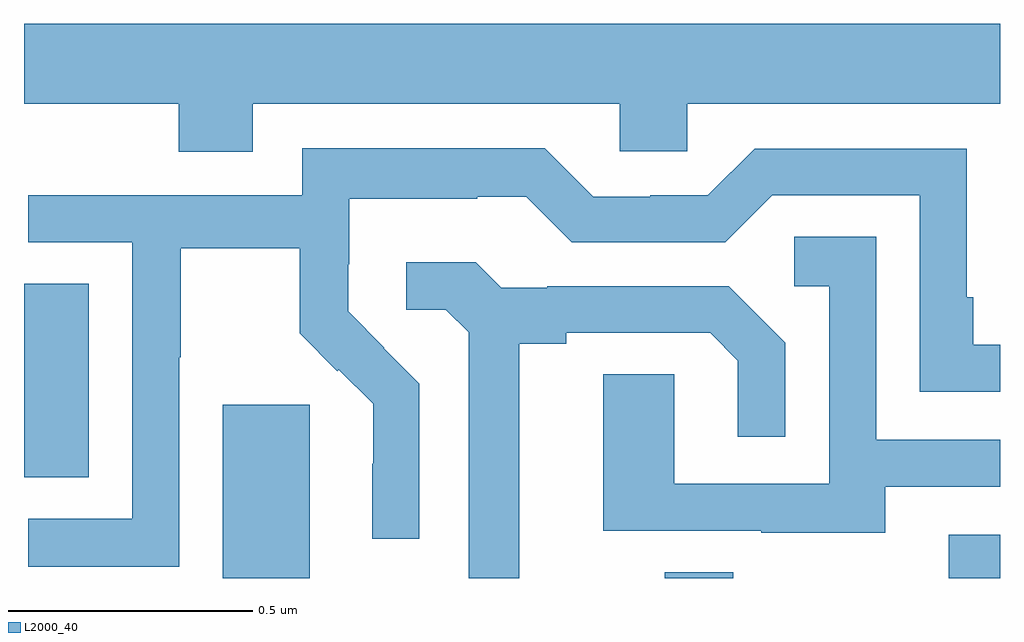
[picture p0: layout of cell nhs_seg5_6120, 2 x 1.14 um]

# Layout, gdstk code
import gdstk
lib = gdstk.Library(unit=1e-6, precision=1e-09)
def R(c, l, rs):  # rectangles x0, y0, x1, y1
    for r in rs: c.add(gdstk.rectangle(r[:2], r[2:], *l))
def P(c, l, *ps):  # polygons
    for p in ps: c.add(gdstk.Polygon(p, *l))
L2000_40 = (2000, 40)

nhs_seg5_6120 = lib.new_cell('nhs_seg5_6120')
R(nhs_seg5_6120, L2000_40, [(192.407,843.799,192.586,844.155), (193.313,843.799,193.453,843.812), (193.895,843.799,194,843.888), (192,844.006,192.133,844.403)])
P(nhs_seg5_6120, L2000_40, [(192.469,844.772),(193.221,844.772),(193.221,844.674),(193.359,844.674),(193.359,844.772),(194,844.772),(194,844.936),(192,844.936),(192,844.772),(192.317,844.772),(192.317,844.673),(192.469,844.673)],
  [(192.318,844.252),(192.321,844.252),(192.321,844.476),(192.565,844.476),(192.565,844.301),(192.642,844.224),(192.645,844.227),(192.716,844.157),(192.716,844.034),(192.714,844.034),(192.714,843.88),(192.81,843.88),(192.81,844.198),(192.737,844.271),(192.738,844.272),(192.664,844.346),(192.664,844.443),(192.666,844.443),(192.666,844.577),(192.929,844.577),(192.929,844.581),(193.029,844.581),(193.122,844.488),(193.437,844.488),(193.533,844.584),(193.836,844.584),(193.836,844.182),(194,844.182),(194,844.278),(193.945,844.278),(193.945,844.375),(193.932,844.375),(193.932,844.68),(193.497,844.68),(193.401,844.584),(193.283,844.584),(193.283,844.581),(193.167,844.581),(193.067,844.681),(192.57,844.681),(192.57,844.584),(192.009,844.584),(192.009,844.488),(192.222,844.488),(192.222,843.921),(192.009,843.921),(192.009,843.823),(192.318,843.823)],
  [(193.765,843.987),(194,843.987),(194,844.083),(193.746,844.083),(193.746,844.499),(193.578,844.499),(193.578,844.398),(193.65,844.398),(193.65,843.993),(193.332,843.993),(193.332,844.217),(193.187,844.217),(193.187,843.897),(193.511,843.897),(193.511,843.893),(193.765,843.893)],
  [(193.015,844.28),(193.111,844.28),(193.111,844.302),(193.406,844.302),(193.463,844.245),(193.463,844.089),(193.56,844.089),(193.56,844.282),(193.444,844.398),(193.072,844.398),(193.072,844.395),(192.978,844.395),(192.926,844.447),(192.783,844.447),(192.783,844.35),(192.864,844.35),(192.911,844.303),(192.911,843.799),(193.015,843.799)])

lib.write_gds('nhs_seg5_6120.gds')
